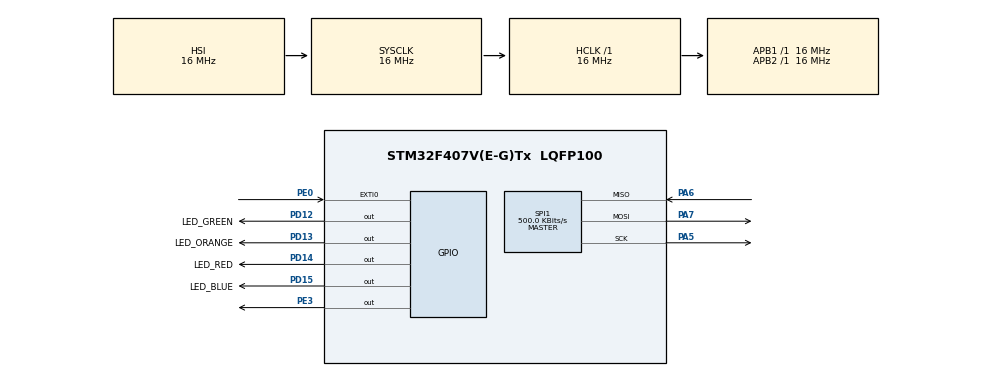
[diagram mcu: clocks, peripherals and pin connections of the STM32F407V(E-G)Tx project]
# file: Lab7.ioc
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Mcu.Family=STM32F4
Mcu.Name=STM32F407V(E-G)Tx
Mcu.Package=LQFP100
NVIC.EXTI0_IRQn=true\:0\:0\:false\:false\:true\:true\:true\:true
NVIC.PriorityGroup=NVIC_PRIORITYGROUP_4
PA5.Mode=Full_Duplex_Master
PA5.Signal=SPI1_SCK
PA6.Mode=Full_Duplex_Master
PA6.Signal=SPI1_MISO
PA7.Mode=Full_Duplex_Master
PA7.Signal=SPI1_MOSI
PD12.GPIO_Label=LED_GREEN
PD12.Signal=GPIO_Output
PD13.GPIO_Label=LED_ORANGE
PD13.Signal=GPIO_Output
PD14.GPIO_Label=LED_RED
PD14.Signal=GPIO_Output
PD15.GPIO_Label=LED_BLUE
PD15.Signal=GPIO_Output
PE0.Signal=GPXTI0
PE3.Signal=GPIO_Output
ProjectManager.HeapSize=0x200
ProjectManager.StackSize=0x400
ProjectManager.TargetToolchain=STM32CubeIDE
RCC.AHBFreq_Value=16000000
RCC.APB1Freq_Value=16000000
RCC.APB2Freq_Value=16000000
RCC.CortexFreq_Value=16000000
RCC.HSE_VALUE=25000000
RCC.HSI_VALUE=16000000
RCC.LSE_VALUE=32768
RCC.SYSCLKFreq_VALUE=16000000
RCC.VCOOutputFreq_Value=192000000
SPI1.BaudRatePrescaler=SPI_BAUDRATEPRESCALER_32
SPI1.CalculateBaudRate=500.0 KBits/s
SPI1.Direction=SPI_DIRECTION_2LINES
SPI1.Mode=SPI_MODE_MASTER
SPI1.VirtualType=VM_MASTER
board=custom

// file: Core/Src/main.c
/* USER CODE BEGIN Header */
/**
  ******************************************************************************
  * @file           : main.c
  * @brief          : Main program body
  ******************************************************************************
  * @attention
  *
  * Copyright (c) 2023 STMicroelectronics.
  * All rights reserved.
  *
  * This software is licensed under terms that can be found in the LICENSE file
  * in the root directory of this software component.
  * If no LICENSE file comes with this software, it is provided AS-IS.
  *
  ******************************************************************************
  */
/* USER CODE END Header */
#include "main.h"

/* USER CODE BEGIN Includes */
#include "MY_LIS3DSH.h"
/* USER CODE END Includes */

SPI_HandleTypeDef hspi1;

/* USER CODE BEGIN PV */
LIS3DSH_DataScaled myData;
uint8_t drdyFlag=0;
/* USER CODE END PV */

void SystemClock_Config(void);
static void MX_GPIO_Init(void);
static void MX_SPI1_Init(void);

/* USER CODE BEGIN 0 */
void HAL_GPIO_EXTI_Callback(uint16_t GPIO_Pin)
{
  /* Prevent unused argument(s) compilation warning */
  UNUSED(GPIO_Pin);
  /* NOTE: This function Should not be modified, when the callback is needed,
           the HAL_GPIO_EXTI_Callback could be implemented in the user file
   */

  drdyFlag = 1;
}
/* USER CODE END 0 */

int main(void)
{

  /* MCU Configuration--------------------------------------------------------*/

  /* Reset of all peripherals, Initializes the Flash interface and the Systick. */
  HAL_Init();

  /* Configure the system clock */
  SystemClock_Config();

  /* Initialize all configured peripherals */
  MX_GPIO_Init();
  MX_SPI1_Init();
  /* USER CODE BEGIN 2 */
  LIS3DSH_InitTypeDef myAccConfigDef;

      myAccConfigDef.dataRate = LIS3DSH_DATARATE_25;
      myAccConfigDef.fullScale = LIS3DSH_FULLSCALE_4;
      myAccConfigDef.antiAliasingBW = LIS3DSH_FILTER_BW_50;
      myAccConfigDef.enableAxes = LIS3DSH_XYZ_ENABLE;
      myAccConfigDef.interruptEnable = true;
      LIS3DSH_Init(&hspi1, &myAccConfigDef);

      LIS3DSH_X_calibrate(-1000.0, 980.0);
      LIS3DSH_Y_calibrate(-1020.0, 1040.0);
      LIS3DSH_Z_calibrate(-920.0, 1040.0);
  /* USER CODE END 2 */

  /* Infinite loop */
  while (1)
  {
	  if(drdyFlag == 1)
	  	  	  {
	  	  		  myData = LIS3DSH_GetDataScaled();
	  	  		  drdyFlag = 0;
	  	  	  }
	  // Check the inclination and set LEDs accordingly
	  if (myData.x > 256)
	          {
	              HAL_GPIO_WritePin(LED_GREEN_GPIO_Port, LED_GREEN_Pin, GPIO_PIN_SET);
	              HAL_GPIO_WritePin(LED_ORANGE_GPIO_Port, LED_ORANGE_Pin, GPIO_PIN_RESET);
	              HAL_GPIO_WritePin(LED_RED_GPIO_Port, LED_RED_Pin, GPIO_PIN_RESET);
	              HAL_GPIO_WritePin(LED_BLUE_GPIO_Port, LED_BLUE_Pin, GPIO_PIN_RESET);
	          }
	          else if (myData.x < -256)
	          {
	              HAL_GPIO_WritePin(LED_ORANGE_GPIO_Port, LED_ORANGE_Pin, GPIO_PIN_SET);
	              HAL_GPIO_WritePin(LED_GREEN_GPIO_Port, LED_GREEN_Pin, GPIO_PIN_RESET);
	              HAL_GPIO_WritePin(LED_RED_GPIO_Port, LED_RED_Pin, GPIO_PIN_RESET);
	              HAL_GPIO_WritePin(LED_BLUE_GPIO_Port, LED_BLUE_Pin, GPIO_PIN_RESET);
	          }
	          else if (myData.y > 256)
	          {
	              HAL_GPIO_WritePin(LED_BLUE_GPIO_Port, LED_BLUE_Pin, GPIO_PIN_SET);
	              HAL_GPIO_WritePin(LED_ORANGE_GPIO_Port, LED_ORANGE_Pin, GPIO_PIN_RESET);
	              HAL_GPIO_WritePin(LED_GREEN_GPIO_Port, LED_GREEN_Pin, GPIO_PIN_RESET);
	              HAL_GPIO_WritePin(LED_RED_GPIO_Port, LED_RED_Pin, GPIO_PIN_RESET);
	          }
	          else if (myData.y < -256)
	          {
	              HAL_GPIO_WritePin(LED_RED_GPIO_Port, LED_RED_Pin, GPIO_PIN_SET);
	              HAL_GPIO_WritePin(LED_ORANGE_GPIO_Port, LED_ORANGE_Pin, GPIO_PIN_RESET);
	              HAL_GPIO_WritePin(LED_GREEN_GPIO_Port, LED_GREEN_Pin, GPIO_PIN_RESET);
	              HAL_GPIO_WritePin(LED_BLUE_GPIO_Port, LED_BLUE_Pin, GPIO_PIN_RESET);
	          }
	          else
	          {
	              // No inclination, turn off all LEDs
	              HAL_GPIO_WritePin(LED_ORANGE_GPIO_Port, LED_ORANGE_Pin, GPIO_PIN_RESET);
	              HAL_GPIO_WritePin(LED_GREEN_GPIO_Port, LED_GREEN_Pin, GPIO_PIN_RESET);
	              HAL_GPIO_WritePin(LED_RED_GPIO_Port, LED_RED_Pin, GPIO_PIN_RESET);
	              HAL_GPIO_WritePin(LED_BLUE_GPIO_Port, LED_BLUE_Pin, GPIO_PIN_RESET);
	          }
  }
}

void SystemClock_Config(void)
{
  RCC_OscInitTypeDef RCC_OscInitStruct = {0};
  RCC_ClkInitTypeDef RCC_ClkInitStruct = {0};

  /** Configure the main internal regulator output voltage
  */
  __HAL_RCC_PWR_CLK_ENABLE();
  __HAL_PWR_VOLTAGESCALING_CONFIG(PWR_REGULATOR_VOLTAGE_SCALE1);

  /** Initializes the RCC Oscillators according to the specified parameters
  * in the RCC_OscInitTypeDef structure.
  */
  RCC_OscInitStruct.OscillatorType = RCC_OSCILLATORTYPE_HSI;
  RCC_OscInitStruct.HSIState = RCC_HSI_ON;
  RCC_OscInitStruct.HSICalibrationValue = RCC_HSICALIBRATION_DEFAULT;
  RCC_OscInitStruct.PLL.PLLState = RCC_PLL_NONE;
  if (HAL_RCC_OscConfig(&RCC_OscInitStruct) != HAL_OK)
  {
    Error_Handler();
  }

  /** Initializes the CPU, AHB and APB buses clocks
  */
  RCC_ClkInitStruct.ClockType = RCC_CLOCKTYPE_HCLK|RCC_CLOCKTYPE_SYSCLK
                              |RCC_CLOCKTYPE_PCLK1|RCC_CLOCKTYPE_PCLK2;
  RCC_ClkInitStruct.SYSCLKSource = RCC_SYSCLKSOURCE_HSI;
  RCC_ClkInitStruct.AHBCLKDivider = RCC_SYSCLK_DIV1;
  RCC_ClkInitStruct.APB1CLKDivider = RCC_HCLK_DIV1;
  RCC_ClkInitStruct.APB2CLKDivider = RCC_HCLK_DIV1;

  if (HAL_RCC_ClockConfig(&RCC_ClkInitStruct, FLASH_LATENCY_0) != HAL_OK)
  {
    Error_Handler();
  }
}

static void MX_SPI1_Init(void)
{

  /* SPI1 parameter configuration*/
  hspi1.Instance = SPI1;
  hspi1.Init.Mode = SPI_MODE_MASTER;
  hspi1.Init.Direction = SPI_DIRECTION_2LINES;
  hspi1.Init.DataSize = SPI_DATASIZE_8BIT;
  hspi1.Init.CLKPolarity = SPI_POLARITY_LOW;
  hspi1.Init.CLKPhase = SPI_PHASE_1EDGE;
  hspi1.Init.NSS = SPI_NSS_SOFT;
  hspi1.Init.BaudRatePrescaler = SPI_BAUDRATEPRESCALER_32;
  hspi1.Init.FirstBit = SPI_FIRSTBIT_MSB;
  hspi1.Init.TIMode = SPI_TIMODE_DISABLE;
  hspi1.Init.CRCCalculation = SPI_CRCCALCULATION_DISABLE;
  hspi1.Init.CRCPolynomial = 10;
  if (HAL_SPI_Init(&hspi1) != HAL_OK)
  {
    Error_Handler();
  }

}

static void MX_GPIO_Init(void)
{
  GPIO_InitTypeDef GPIO_InitStruct = {0};

  /* GPIO Ports Clock Enable */
  __HAL_RCC_GPIOE_CLK_ENABLE();
  __HAL_RCC_GPIOA_CLK_ENABLE();
  __HAL_RCC_GPIOD_CLK_ENABLE();

  /*Configure GPIO pin Output Level */
  HAL_GPIO_WritePin(GPIOE, GPIO_PIN_3, GPIO_PIN_RESET);

  /*Configure GPIO pin Output Level */
  HAL_GPIO_WritePin(GPIOD, LED_GREEN_Pin|LED_ORANGE_Pin|LED_RED_Pin|LED_BLUE_Pin, GPIO_PIN_RESET);

  /*Configure GPIO pin : PE3 */
  GPIO_InitStruct.Pin = GPIO_PIN_3;
  GPIO_InitStruct.Mode = GPIO_MODE_OUTPUT_PP;
  GPIO_InitStruct.Pull = GPIO_NOPULL;
  GPIO_InitStruct.Speed = GPIO_SPEED_FREQ_LOW;
  HAL_GPIO_Init(GPIOE, &GPIO_InitStruct);

  /*Configure GPIO pins : LED_GREEN_Pin LED_ORANGE_Pin LED_RED_Pin LED_BLUE_Pin */
  GPIO_InitStruct.Pin = LED_GREEN_Pin|LED_ORANGE_Pin|LED_RED_Pin|LED_BLUE_Pin;
  GPIO_InitStruct.Mode = GPIO_MODE_OUTPUT_PP;
  GPIO_InitStruct.Pull = GPIO_NOPULL;
  GPIO_InitStruct.Speed = GPIO_SPEED_FREQ_LOW;
  HAL_GPIO_Init(GPIOD, &GPIO_InitStruct);

  /*Configure GPIO pin : PE0 */
  GPIO_InitStruct.Pin = GPIO_PIN_0;
  GPIO_InitStruct.Mode = GPIO_MODE_IT_RISING;
  GPIO_InitStruct.Pull = GPIO_NOPULL;
  HAL_GPIO_Init(GPIOE, &GPIO_InitStruct);

  /* EXTI interrupt init*/
  HAL_NVIC_SetPriority(EXTI0_IRQn, 0, 0);
  HAL_NVIC_EnableIRQ(EXTI0_IRQn);

}

void Error_Handler(void)
{
  __disable_irq();
  while (1)
  {
  }
}
